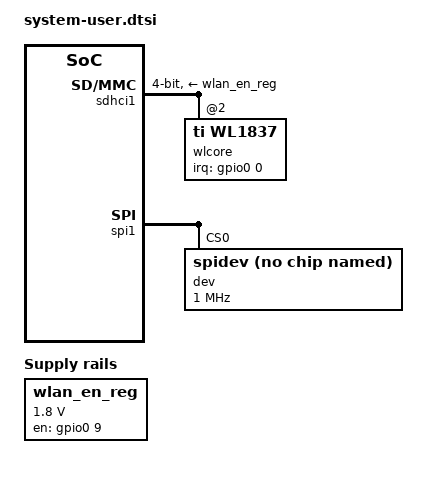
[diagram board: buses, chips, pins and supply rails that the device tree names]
/include/ "system-conf.dtsi"
#include <dt-bindings/gpio/gpio.h>
#include <dt-bindings/interrupt-controller/irq.h>

/ {
	/* SDSoC */
	xlnk {
		compatible = "xlnx,xlnk-1.0";
	};

	wlan_en_reg: fixedregulator@2 {
		compatible = "regulator-fixed";
		regulator-name = "wlan-en-regulator";
		regulator-min-microvolt = <1800000>;
		regulator-max-microvolt = <1800000>;
		startup-delay-us = <70000>;

		/* WLAN_EN GPIO for this board - Bank1, pin16 */
		gpio = <&gpio0 9 GPIO_ACTIVE_HIGH>;
		enable-active-high;
	};
};

&sdhci1 {
	status = "okay";

	vmmc-supply = <&wlan_en_reg>;
	bus-width = <4>;
	cap-power-off-card;
	keep-power-in-suspend;
	#address-cells = <1>;
	#size-cells = <0>;
		
	wlcore: wlcore@2 {
		compatible = "ti,wl1837";
		reg = <2>;
		interrupt-parent = <&gpio0>;
		interrupts = <0 IRQ_TYPE_LEVEL_HIGH>;
	};
};

&spi1 {
    status = "okay";
    num-cs = <1>;
    is-decoded-cs = <0>;
    #address-cells = <1>;
    #size-cells = <0>;

    dev@0 {
        compatible = "linux,spidev";
        reg = <0>;
        spi-max-frequency = <1000000>;
    };
};
